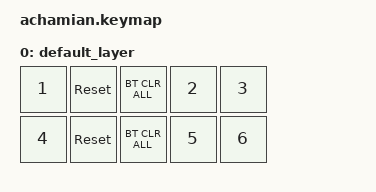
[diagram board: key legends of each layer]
#include <behaviors.dtsi>
#include <dt-bindings/zmk/bt.h>
#include <dt-bindings/zmk/keys.h>

/ {
    keymap {
        compatible = "zmk,keymap";

        default_layer {
            bindings = <
&kp NUMBER_1 &sys_reset &bt BT_CLR_ALL &kp NUMBER_2 &kp NUMBER_3
&kp NUMBER_4 &sys_reset &bt BT_CLR_ALL &kp NUMBER_5 &kp NUMBER_6
            >;
        };
    };
};


